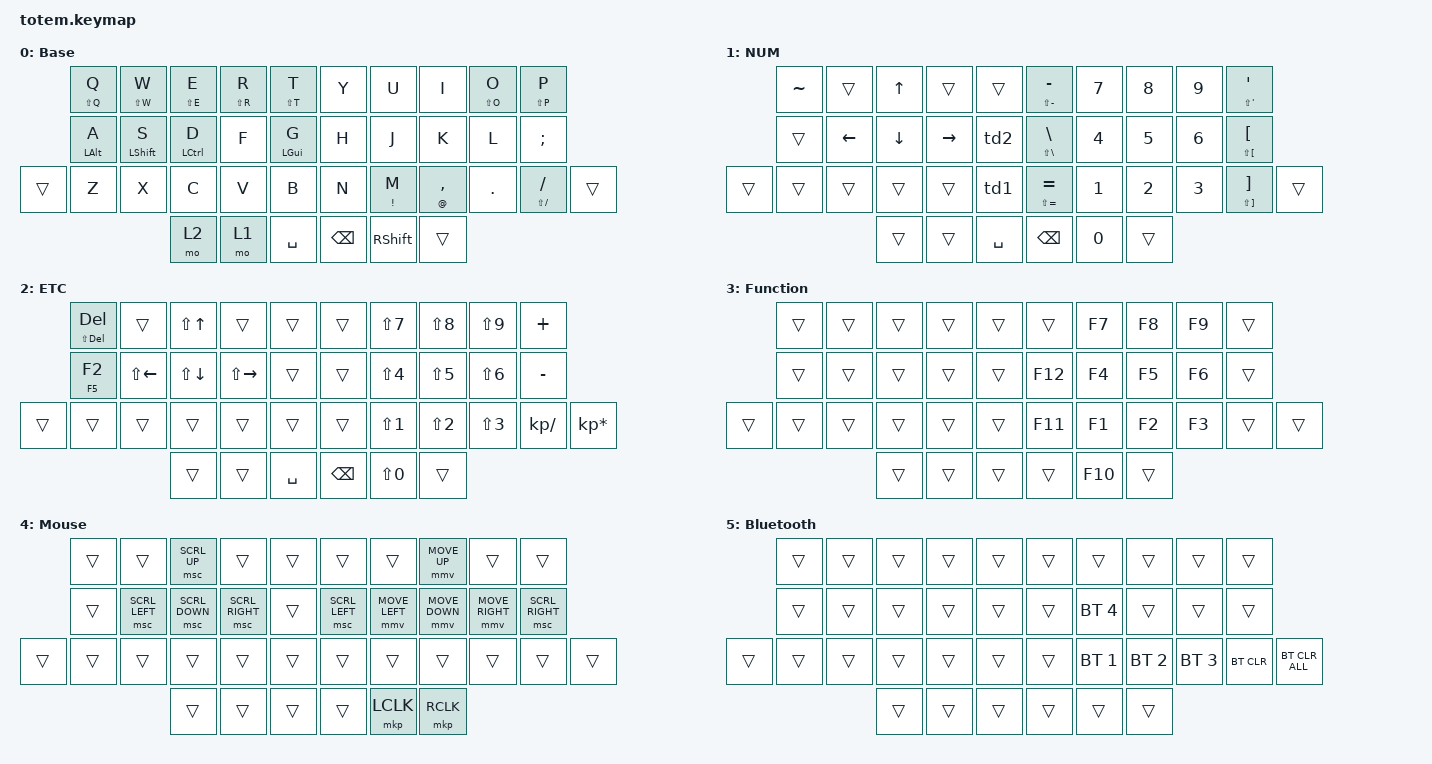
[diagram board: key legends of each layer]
//
//                                                        ▀▀▀▀▀     ▀▀▀▀▀          ▀▀█▀▀
//                                                        ▄▀▀▀▄  ▄  ▄▀▀▀▄  ▄  ▄▀▀▀▄  █  ▄▀▀▀▄
//                                                        █   █  █  █   █  █  █   █  █  █   █
//                                                         ▀▀▀   █   ▀▀▀   █   ▀▀▀   ▀   ▀▀▀
//                                                               █      ▄▄▄█▄▄▄    █   █  
//                                                               ▀      █  █  █     █▄█
//                                                             ▀▀▀▀▀    █  █  █      ▀
//                                                                      ▀  ▀  ▀
//
// ▄▄▄▄▄▄▄▄▄▄▄▄▄▄▄▄▄▄▄▄▄▄▄▄▄▄▄▄▄▄▄▄▄▄▄▄▄▄▄▄▄▄▄▄▄▄▄▄▄▄▄▄▄▄▄▄▄▄▄▄▄▄▄▄▄▄▄▄▄▄▄▄▄▄▄▄▄▄▄▄▄▄▄▄▄▄▄▄▄▄▄▄▄▄▄▄▄▄▄▄▄▄▄▄▄▄▄▄▄▄▄▄▄▄▄▄▄▄▄▄▄▄▄▄▄▄▄▄▄▄▄▄▄▄▄▄▄▄▄▄▄▄▄▄▄▄▄▄▄

#include <behaviors.dtsi>
#include <dt-bindings/zmk/bt.h>
#include <dt-bindings/zmk/keys.h>
#include <dt-bindings/zmk/pointing.h>

/ {
    combos {
        compatible = "zmk,combos";

        LANGchange_combo {
            bindings = <&kp LANG1>;
            key-positions = <17 18>;
            timeout-ms = <40>;
            require-prior-idle-ms = <120>;
            layers = <0>;
        };

        ESC_combo {
            bindings = <&kp ESC>;
            key-positions = <0 1>;
            slow-release;
            timeout-ms = <40>;
            require-prior-idle-ms = <120>;
        };

        TAB_combo {
            bindings = <&kp TAB>;
            key-positions = <10 11>;
            timeout-ms = <40>;
            require-prior-idle-ms = <120>;
        };

        ENTER_combo {
            bindings = <&kp ENTER>;
            key-positions = <16 17>;
            require-prior-idle-ms = <120>;
            timeout-ms = <50>;
        };

        copy {
            bindings = <&kp LC(C)>;
            key-positions = <12 13>;
            timeout-ms = <50>;
            require-prior-idle-ms = <120>;
        };

        momentary_layer_5 {
            bindings = <&mo 5>;
            key-positions = <20 21>;
        };

        paste {
            bindings = <&kp LC(V)>;
            key-positions = <12 24>;
            timeout-ms = <50>;
            require-prior-idle-ms = <120>;
        };
    };

    macros {
        PW1: PW1 {
            compatible = "zmk,behavior-macro";
            #binding-cells = <0>;
            bindings = <&kp NUMBER_0 &kp T &kp NUMBER_0 &kp L &kp E &kp R &kp AT_SIGN &kp N &kp C &kp E>;
            label = "PW1";
        };

        PW2: new_macro {
            compatible = "zmk,behavior-macro";
            #binding-cells = <0>;
            bindings = <&kp NUMBER_2 &kp NUMBER_0 &kp NUMBER_2 &kp NUMBER_2 &kp NUMBER_0 &kp NUMBER_9 &kp NUMBER_0 &kp NUMBER_1 &kp Q &kp EXCLAMATION &kp AT_SIGN &kp HASH>;
            label = "NEW_MACRO";
        };

        PW3: PW3 {
            compatible = "zmk,behavior-macro";
            #binding-cells = <0>;
            bindings = <&kp AT_SIGN &kp E &kp L &kp V &kp H &kp X &kp K &kp D &kp L &kp A>;
            label = "PW3";
        };

        mail: mail {
            compatible = "zmk,behavior-macro";
            #binding-cells = <0>;
            bindings = <&kp O &kp F &kp F &kp I &kp C &kp E &kp D &kp E &kp P &kp O &kp T &kp DOT &kp C &kp O &kp DOT &kp K &kp R>;
            label = "MAIL";
        };
    };

    behaviors {
        hr: homerow {
            compatible = "zmk,behavior-hold-tap";
            label = "HOMEROW";
            bindings = <&kp>, <&kp>;

            #binding-cells = <2>;
            tapping-term-ms = <200>;
            quick-tap-ms = <130>;
            flavor = "tap-preferred";
        };

        td1: tapdance1 {
            compatible = "zmk,behavior-tap-dance";
            label = "TAPDANCE1";
            #binding-cells = <0>;
            bindings = <&PW2>, <&PW1>, <&PW3>;

            tapping-term-ms = <300>;
        };

        ht: holdtap {
            compatible = "zmk,behavior-hold-tap";
            label = "HOLDTAP";
            bindings = <&kp>, <&kp>;

            #binding-cells = <2>;
            tapping-term-ms = <200>;
            quick-tap-ms = <130>;
            flavor = "tap-preferred";
        };

        td2: tapdance2 {
            compatible = "zmk,behavior-tap-dance";
            label = "TAPDANCE2";
            #binding-cells = <0>;
            bindings = <&mail>;
            tapping-term-ms = <300>;
        };
    };

    keymap {
        compatible = "zmk,keymap";

        Base {
            bindings = <
        &ht LS(Q) Q     &ht LS(W) W       &ht LS(E) E         &ht LS(R) R  &ht LS(T) T       &kp Y          &kp U              &kp I              &ht LS(O) O  &ht LS(P) P
        &hr LEFT_ALT A  &hr LEFT_SHIFT S  &hr LEFT_CONTROL D  &kp F        &hr LEFT_GUI G    &kp H          &kp J              &kp K              &kp L        &kp SEMI
&trans  &kp Z           &kp X             &kp C               &kp V        &kp B             &kp N          &ht EXCLAMATION M  &ht AT_SIGN COMMA  &kp DOT      &ht LS(FSLH) FSLH  &trans
                                          &mo 2               &mo 1        &kp SPACE         &kp BACKSPACE  &kp RIGHT_SHIFT    &trans
            >;
        };

        NUM {
            bindings = <
        &kp TILDE  &trans          &kp UP_ARROW    &trans           &trans       &ht LS(MINUS) MINUS          &kp NUMBER_7  &kp NUMBER_8  &kp NUMBER_9  &ht LS(SINGLE_QUOTE) SINGLE_QUOTE
        &trans     &kp LEFT_ARROW  &kp DOWN_ARROW  &kp RIGHT_ARROW  &td2         &ht LS(BACKSLASH) BACKSLASH  &kp NUMBER_4  &kp NUMBER_5  &kp NUMBER_6  &ht LS(LEFT_BRACKET) LEFT_BRACKET
&trans  &trans     &trans          &trans          &trans           &td1         &ht LS(EQUAL) EQUAL          &kp NUMBER_1  &kp NUMBER_2  &kp NUMBER_3  &ht LS(RIGHT_BRACKET) RIGHT_BRACKET  &trans
                                   &trans          &trans           &kp SPACE    &kp BACKSPACE                &kp NUMBER_0  &trans
            >;
        };

        ETC {
            bindings = <
        &ht LS(DELETE) DELETE  &trans              &kp LS(UP_ARROW)    &trans               &trans       &trans         &kp LS(NUMBER_7)  &kp LS(NUMBER_8)  &kp LS(NUMBER_9)  &kp PLUS
        &ht F5 F2              &kp LS(LEFT_ARROW)  &kp LS(DOWN_ARROW)  &kp LS(RIGHT_ARROW)  &trans       &trans         &kp LS(NUMBER_4)  &kp LS(NUMBER_5)  &kp LS(NUMBER_6)  &kp MINUS
&trans  &trans                 &trans              &trans              &trans               &trans       &trans         &kp LS(NUMBER_1)  &kp LS(NUMBER_2)  &kp LS(NUMBER_3)  &kp KP_DIVIDE  &kp KP_MULTIPLY
                                                   &trans              &trans               &kp SPACE    &kp BACKSPACE  &kp LS(NUMBER_0)  &trans
            >;
        };

        Function {
            bindings = <
        &trans  &trans  &trans  &trans  &trans    &trans   &kp F7   &kp F8  &kp F9  &trans
        &trans  &trans  &trans  &trans  &trans    &kp F12  &kp F4   &kp F5  &kp F6  &trans
&trans  &trans  &trans  &trans  &trans  &trans    &kp F11  &kp F1   &kp F2  &kp F3  &trans  &trans
                        &trans  &trans  &trans    &trans   &kp F10  &trans
            >;
        };

        Mouse {
            bindings = <
        &trans  &trans          &msc SCRL_UP    &trans           &trans    &trans          &trans          &mmv MOVE_UP    &trans           &trans
        &trans  &msc SCRL_LEFT  &msc SCRL_DOWN  &msc SCRL_RIGHT  &trans    &msc SCRL_LEFT  &mmv MOVE_LEFT  &mmv MOVE_DOWN  &mmv MOVE_RIGHT  &msc SCRL_RIGHT
&trans  &trans  &trans          &trans          &trans           &trans    &trans          &trans          &trans          &trans           &trans           &trans
                                &trans          &trans           &trans    &trans          &mkp LCLK       &mkp RCLK
            >;
        };

        Bluetooth {
            bindings = <
        &trans  &trans  &trans  &trans  &trans    &trans  &trans        &trans        &trans        &trans
        &trans  &trans  &trans  &trans  &trans    &trans  &bt BT_SEL 4  &trans        &trans        &trans
&trans  &trans  &trans  &trans  &trans  &trans    &trans  &bt BT_SEL 1  &bt BT_SEL 2  &bt BT_SEL 3  &bt BT_CLR  &bt BT_CLR_ALL
                        &trans  &trans  &trans    &trans  &trans        &trans
            >;
        };
    };

    conditional_layers {
        compatible = "zmk,conditional-layers";

        Function_layer {
            if-layers = <1 2>;
            then-layer = <3>;
        };
    };
};
